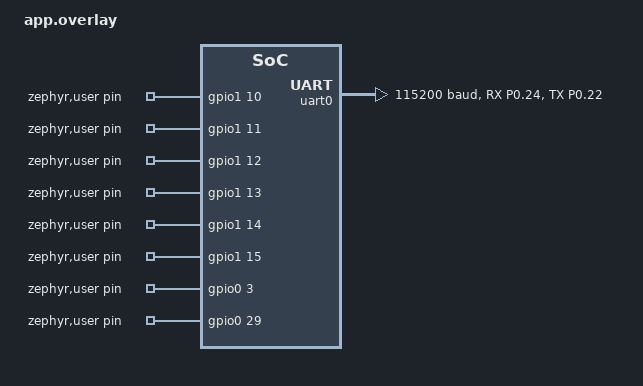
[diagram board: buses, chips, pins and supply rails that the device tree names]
/ {

    chosen {
        zephyr,console = &uart0;
        zephyr,shell-uart = &uart0;
    };

    zephyr,user {
        pin_gpios = <&gpio1 10 (GPIO_ACTIVE_HIGH | GPIO_PULL_DOWN)>, /* pin 3  - P1.10 */
                    <&gpio1 11 (GPIO_ACTIVE_HIGH | GPIO_PULL_DOWN)>, /* pin 4  - P1.11 */
                    <&gpio1 12 (GPIO_ACTIVE_HIGH | GPIO_PULL_DOWN)>, /* pin 5  - P1.12 */
                    <&gpio1 13 (GPIO_ACTIVE_HIGH | GPIO_PULL_DOWN)>, /* pin 6  - P1.13 */
                    <&gpio1 14 (GPIO_ACTIVE_HIGH | GPIO_PULL_DOWN)>, /* pin 7  - P1.14 */
                    <&gpio1 15 (GPIO_ACTIVE_HIGH | GPIO_PULL_DOWN)>, /* pin 8  - P1.15 */
                    <&gpio0 3  (GPIO_ACTIVE_HIGH | GPIO_PULL_DOWN)>, /* pin 9  - P0.03 */
                    <&gpio0 29 (GPIO_ACTIVE_HIGH | GPIO_PULL_DOWN)>, /* pin 10 - P0.29 */
                    <&gpio0 2  (GPIO_ACTIVE_HIGH | GPIO_PULL_DOWN)>, /* pin 11 - P0.02 */
                    <&gpio0 31 (GPIO_ACTIVE_HIGH | GPIO_PULL_DOWN)>, /* pin 12 - P0.31 */
                    <&gpio0 28 (GPIO_ACTIVE_HIGH | GPIO_PULL_DOWN)>, /* pin 13 - P0.28 */
                    <&gpio0 30 (GPIO_ACTIVE_HIGH | GPIO_PULL_DOWN)>, /* pin 14 - P0.30 */
                    <&gpio0 27 (GPIO_ACTIVE_HIGH | GPIO_PULL_DOWN)>, /* pin 16 - P0.27 */
                    <&gpio0 26 (GPIO_ACTIVE_HIGH | GPIO_PULL_DOWN)>, /* pin 19 - P0.26 */
                    <&gpio0 4  (GPIO_ACTIVE_HIGH | GPIO_PULL_DOWN)>, /* pin 20 - P0.04 */
                    <&gpio0 5  (GPIO_ACTIVE_HIGH | GPIO_PULL_DOWN)>, /* pin 21 - P0.05 */
                    <&gpio0 6  (GPIO_ACTIVE_HIGH | GPIO_PULL_DOWN)>, /* pin 22 - P0.06 */
                    <&gpio0 7  (GPIO_ACTIVE_HIGH | GPIO_PULL_DOWN)>, /* pin 23 - P0.07 */
                    <&gpio0 8  (GPIO_ACTIVE_HIGH | GPIO_PULL_DOWN)>, /* pin 24 - P0.08 */
                    <&gpio1 8  (GPIO_ACTIVE_HIGH | GPIO_PULL_DOWN)>, /* pin 25 - P1.08 */
                    <&gpio1 9  (GPIO_ACTIVE_HIGH | GPIO_PULL_DOWN)>, /* pin 26 - P1.09 */
                    <&gpio0 11 (GPIO_ACTIVE_HIGH | GPIO_PULL_DOWN)>, /* pin 27 - P0.11 */
                    <&gpio0 12 (GPIO_ACTIVE_HIGH | GPIO_PULL_DOWN)>, /* pin 29 - P0.12 */
                    <&gpio0 14 (GPIO_ACTIVE_HIGH | GPIO_PULL_DOWN)>, /* pin 36 - P0.14 */
                    <&gpio0 13 (GPIO_ACTIVE_HIGH | GPIO_PULL_DOWN)>, /* pin 37 - P0.13 */
                    <&gpio0 16 (GPIO_ACTIVE_HIGH | GPIO_PULL_DOWN)>, /* pin 38 - P0.16 */
                    <&gpio0 15 (GPIO_ACTIVE_HIGH | GPIO_PULL_DOWN)>, /* pin 39 - P0.15 */
                    <&gpio0 17 (GPIO_ACTIVE_HIGH | GPIO_PULL_DOWN)>, /* pin 41 - P0.17 */
                    <&gpio0 19 (GPIO_ACTIVE_HIGH | GPIO_PULL_DOWN)>, /* pin 42 - P0.19 */
                    <&gpio0 21 (GPIO_ACTIVE_HIGH | GPIO_PULL_DOWN)>, /* pin 43 - P0.21 */
                    <&gpio0 20 (GPIO_ACTIVE_HIGH | GPIO_PULL_DOWN)>, /* pin 44 - P0.20 */
                    <&gpio0 23 (GPIO_ACTIVE_HIGH | GPIO_PULL_DOWN)>, /* pin 45 - P0.23 */
                    <&gpio1 0  (GPIO_ACTIVE_HIGH | GPIO_PULL_DOWN)>, /* pin 47 - P1.00 */
                    <&gpio0 25 (GPIO_ACTIVE_HIGH | GPIO_PULL_DOWN)>, /* pin 49 - P0.25 */
                    <&gpio1 2  (GPIO_ACTIVE_HIGH | GPIO_PULL_DOWN)>, /* pin 50 - P1.02 */
                    <&gpio0 9  (GPIO_ACTIVE_HIGH | GPIO_PULL_DOWN)>, /* pin 52 - P0.09 (NFC1) */
                    <&gpio0 10 (GPIO_ACTIVE_HIGH | GPIO_PULL_DOWN)>, /* pin 54 - P0.10 (NFC2) */
                    <&gpio1 4  (GPIO_ACTIVE_HIGH | GPIO_PULL_DOWN)>, /* pin 56 - P1.04 */
                    <&gpio1 6  (GPIO_ACTIVE_HIGH | GPIO_PULL_DOWN)>, /* pin 57 - P1.06 */
                    <&gpio1 7  (GPIO_ACTIVE_HIGH | GPIO_PULL_DOWN)>, /* pin 58 - P1.07 */
                    <&gpio1 5  (GPIO_ACTIVE_HIGH | GPIO_PULL_DOWN)>, /* pin 59 - P1.05 */
                    <&gpio1 3  (GPIO_ACTIVE_HIGH | GPIO_PULL_DOWN)>, /* pin 60 - P1.03 */
                    <&gpio1 1  (GPIO_ACTIVE_HIGH | GPIO_PULL_DOWN)>; /* pin 61 - P1.01 */
    };
};

&uicr {
    nfct-pins-as-gpios;
};


&pinctrl {
    uart0_default: uart0_default {
        group1 {
            psels = <NRF_PSEL(UART_RX, 0, 24)>,
                    <NRF_PSEL(UART_TX, 0, 22)>;
        };
    };
};

&uart0 {
    status = "okay";
    current-speed = <115200>;
    pinctrl-0 = <&uart0_default>;
    pinctrl-names = "default";
    /delete-property/ pinctrl-1;
};
